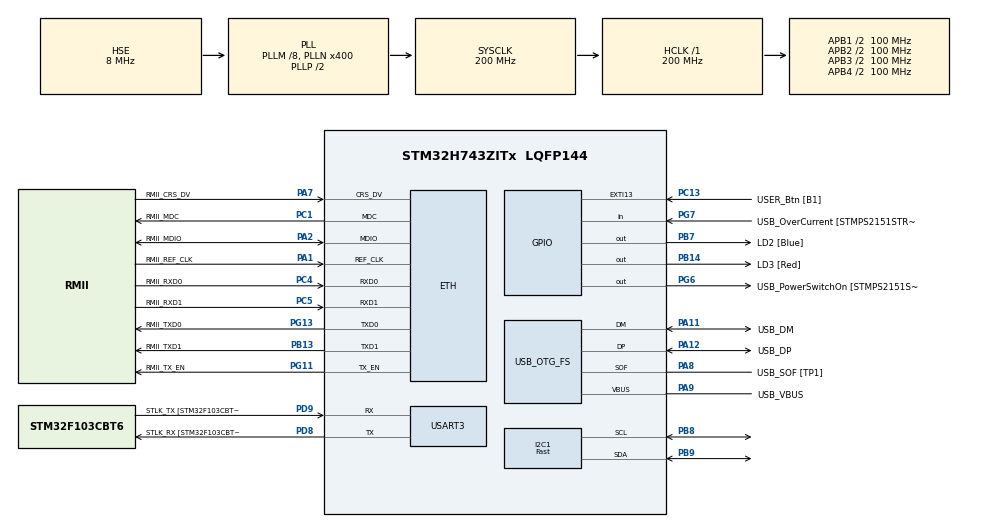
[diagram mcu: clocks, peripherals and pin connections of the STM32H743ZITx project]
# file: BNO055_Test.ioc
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I2C1.I2C_Speed_Mode=I2C_Fast
PB14.GPIO_Label=LD3 [Red]
PG6.GPIO_Label=USB_PowerSwitchOn [STMPS2151STR_EN]
PC5.Mode=RMII
PB13.Signal=ETH_TXD1
PG13.Signal=ETH_TXD0
RCC.SYSCLKSource=RCC_SYSCLKSOURCE_PLLCLK
LWIP.NETMASK_ADDRESS=255.255.255.000
USART3.VirtualMode-Asynchronous=VM_ASYNC
PA14\ (JTCK/SWCLK).Signal=DEBUG_JTCK-SWCLK
RCC.APB2TimFreq_Value=216000000
PD8.Signal=USART3_TX
RCC.DIVM3=8
RCC.DIVM1=8
PC4.GPIO_Label=RMII_RXD0
PA8.Signal=USB_OTG_FS_SOF
PA14\ (JTCK/SWCLK).Mode=Trace_Asynchronous_SW
PB9.Signal=I2C1_SDA
Mcu.Package=LQFP144
NVIC.TimeBase=TIM8_UP_TIM13_IRQn
NVIC.TimeBaseIP=TIM8
PA10.Signal=USB_OTG_FS_ID
PC14-OSC32_IN\ (OSC32_IN).Mode=LSE-External-Oscillator
RCC.APB2CLKDivider=RCC_HCLK_DIV2
RCC.APB4Freq_Value=100000000
RCC.APB1TimFreq_Value=108000000
PB13.Mode=RMII
PH0-OSC_IN\ (PH0).Mode=HSE-External-Clock-Source
PC4.Mode=RMII
LWIP.IP_ADDRESS=192.168.010.010
RCC.DIVQ3=4
RCC.DIVQ1=4
FREERTOS.Tasks01=defaultTask,24,256,StartDefaultTask,Default,NULL,Dynamic,NULL,NULL;myTask02,24,512,BNO055_Task,As weak,NULL,Dynamic,NULL,NULL
LWIP0.BSP.i2caddr=0
PD9.GPIO_Label=STLK_TX [STM32F103CBT6_PA2]
PA9.GPIO_Label=USB_VBUS
PC13.Signal=GPXTI13
PA11.GPIO_Label=USB_DM
LWIP.LWIP_DHCP=0
RCC.APB1CLKDivider=RCC_HCLK_DIV4
PG13.GPIO_Label=RMII_TXD0
RCC.PWR_Regulator_Voltage_Scale=PWR_REGULATOR_VOLTAGE_SCALE1
PA8.GPIO_Label=USB_SOF [TP1]
PA9.Signal=USB_OTG_FS_VBUS
RCC.DIVN3=192
I2C1.Timing=0x009034B6
RCC.DIVN1=400
PD8.Mode=Asynchronous
PB14.Signal=GPIO_Output
RCC.USBCLockSelection=RCC_USBCLKSOURCE_PLL3
PA1.Mode=RMII
RCC.PRESCALERUSB=RCC_USBCLKSOURCE_PLL_DIV1_5
PG7.GPIO_Label=USB_OverCurrent [STMPS2151STR_FAULT]
PA1.GPIO_Label=RMII_REF_CLK
ETH.MediaInterface=HAL_ETH_RMII_MODE
PG11.Mode=RMII
PA11.Signal=USB_OTG_FS_DM
ProjectManager.HeapSize=0x400
LWIP.Version=v2.1.2_Cube
NVIC.TIM8_UP_TIM13_IRQn=true\:0\:0\:false\:false\:true\:false\:false\:true
NVIC.PriorityGroup=NVIC_PRIORITYGROUP_4
PB8.Mode=I2C
PB3\ (JTDO/TRACESWO).Mode=Trace_Asynchronous_SW
PA8.Mode=Activate_SOF_FS
PC1.Signal=ETH_MDC
PA13\ (JTMS/SWDIO).Signal=DEBUG_JTMS-SWDIO
PC1.Mode=RMII
Mcu.Family=STM32H7
LWIP0.BSP.STBoard=false
RCC.CortexFreq_Value=200000000
PG6.Signal=GPIO_Output
PH0-OSC_IN\ (PH0).Signal=RCC_OSC_IN
PC15-OSC32_OUT\ (OSC32_OUT).Mode=LSE-External-Oscillator
RCC.SYSCLKSourceVirtual=RCC_SYSCLKSOURCE_PLLCLK
PA11.Mode=Device_Only
VP_SYS_VS_tim8.Mode=TIM8
PC13.GPIO_Label=USER_Btn [B1]
PB13.GPIO_Label=RMII_TXD1
PD9.Mode=Asynchronous
PG11.Signal=ETH_TX_EN
ProjectManager.StackSize=0x1000
VP_FREERTOS_VS_CMSIS_V2.Mode=CMSIS_V2
PA12.Signal=USB_OTG_FS_DP
RCC.HCLKFreq_Value=200000000
RCC.AHBFreq_Value=216000000
RCC.HSE_VALUE=8000000
RCC.PLLMUL=RCC_PLL_MUL9
PA10.GPIO_Label=USB_ID
PB7.Signal=GPIO_Output
PG13.Mode=RMII
LWIP0.BSP.solution=LAN8742
RCC.APB3Freq_Value=100000000
LWIP0.BSP.component=LAN8742
PB7.GPIO_Label=LD2 [Blue]
RCC.D1PPRE=RCC_APB3_DIV2
PA2.GPIO_Label=RMII_MDIO
USB_OTG_FS.VirtualMode=Device_Only
PG11.GPIO_Label=RMII_TX_EN
PC5.Signal=ETH_RXD1
PG7.Signal=GPIO_Input
PA7.Mode=RMII
PA13\ (JTMS/SWDIO).Mode=Trace_Asynchronous_SW
PC4.Signal=ETH_RXD0
RCC.D2PPRE2=RCC_APB2_DIV2
RCC.D2PPRE1=RCC_APB1_DIV2
PD9.Signal=USART3_RX
PA12.GPIO_Label=USB_DP
PH1-OSC_OUT\ (PH1).Signal=RCC_OSC_OUT
VP_LWIP_VS_Enabled.Mode=Enabled
LWIP.GATEWAY_ADDRESS=192.168.010.001
PD8.GPIO_Label=STLK_RX [STM32F103CBT6_PA3]
PA9.Mode=Activate_VBUS
PB3\ (JTDO/TRACESWO).Signal=DEBUG_JTDO-SWO
ProjectManager.TargetToolchain=STM32CubeIDE
PC15-OSC32_OUT\ (OSC32_OUT).Signal=RCC_OSC32_OUT
PB9.Mode=I2C
LWIP0.BSP.instance=LAN8742
RCC.USBFreq_Value=48000000
LWIP0.BSP.api=BSP_COMPONENT_DRIVER
PA1.Signal=ETH_REF_CLK
board=NUCLEO-H743ZI
RCC.VCOOutputFreq_Value=432000000
RCC.APB2Freq_Value=100000000
RCC.ADCFreq_Value=16125000
PC1.GPIO_Label=RMII_MDC
Mcu.Name=STM32H743ZITx
PA2.Signal=ETH_MDIO
RCC.48MHZClocksFreq_Value=24000000
RCC.SYSCLKFreq_VALUE=200000000
PA7.GPIO_Label=RMII_CRS_DV
PA12.Mode=Device_Only
LWIP.BSP.number=1
PC14-OSC32_IN\ (OSC32_IN).Signal=RCC_OSC32_IN
PC5.GPIO_Label=RMII_RXD1
RCC.HSI_VALUE=64000000
RCC.PLLQ=9
PH0-OSC_IN\ (PH0).GPIO_Label=MCO
RCC.PLLM=25
RCC.PLLN=432
PA2.Mode=RMII
PB8.Signal=I2C1_SCL
RCC.D3PPRE=RCC_APB4_DIV2
CORTEX_M7.CPU_DCache=Enabled
LWIP0.BSP.name=Driver_PHY
RCC.APB1Freq_Value=100000000
PA7.Signal=ETH_CRS_DV

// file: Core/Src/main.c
/* USER CODE BEGIN Header */
/**
  ******************************************************************************
  * @file           : main.c
  * @brief          : Main program body
  ******************************************************************************
  * @attention
  *
  * <h2><center>&copy; Copyright (c) 2021 STMicroelectronics.
  * All rights reserved.</center></h2>
  *
  * This software component is licensed by ST under BSD 3-Clause license,
  * the "License"; You may not use this file except in compliance with the
  * License. You may obtain a copy of the License at:
  *                        opensource.org/licenses/BSD-3-Clause
  *
  ******************************************************************************
  */
/* USER CODE END Header */
#include "main.h"
#include "cmsis_os.h"
#include "lwip.h"

I2C_HandleTypeDef hi2c1;

UART_HandleTypeDef huart3;

PCD_HandleTypeDef hpcd_USB_OTG_FS;

/* Definitions for defaultTask */
osThreadId_t defaultTaskHandle;
const osThreadAttr_t defaultTask_attributes = {
  .name = "defaultTask",
  .stack_size = 256 * 4,
  .priority = (osPriority_t) osPriorityNormal,
};
/* Definitions for myTask02 */
osThreadId_t myTask02Handle;
const osThreadAttr_t myTask02_attributes = {
  .name = "myTask02",
  .stack_size = 512 * 4,
  .priority = (osPriority_t) osPriorityNormal,
};
/* USER CODE BEGIN PV */

#ifdef __GNUC__
/* With GCC/RAISONANCE, small msg_info (option LD Linker->Libraries->Small msg_info
   set to 'Yes') calls __io_putchar() */
#define PUTCHAR_PROTOTYPE int __io_putchar(int ch)
#define GETCHAR_PROTOTYPE int __io_getchar(void)
#else
#define PUTCHAR_PROTOTYPE int fputc(int ch, FILE *f)
#define GETCHAR_PROTOTYPE int fgetc(FILE *f)
#endif /* __GNUC__ */

/* USER CODE END PV */

void SystemClock_Config(void);
static void MX_GPIO_Init(void);
static void MX_USART3_UART_Init(void);
static void MX_USB_OTG_FS_PCD_Init(void);
static void MX_I2C1_Init(void);
void StartDefaultTask(void *argument);
void BNO055_Task(void *argument);

/* USER CODE BEGIN 0 */

/**
  * @brief Retargets the C library msg_info function to the USART.
  * @param None
  * @retval None
  */
PUTCHAR_PROTOTYPE
{
  /* Place your implementation of fputc here */
  /* e.g. write a character to the serial port and Loop until the end of transmission */
  while (HAL_OK != HAL_UART_Transmit(&huart3, (uint8_t *) &ch, 1, 1000))
  {
    ;
  }
  return ch;
}

/**
  * @brief Retargets the C library scanf function to the USART.
  * @param None
  * @retval None
  */
GETCHAR_PROTOTYPE
{
  /* Place your implementation of fgetc here */
  /* e.g. readwrite a character to the USART3 and Loop until the end of transmission */
  uint8_t ch = 0;
  while (HAL_OK != HAL_UART_Receive(&huart3, (uint8_t *)&ch, 1, 1000))
  {
    ;
  }
  return ch;
}

/* USER CODE END 0 */

int main(void)
{

  /* Enable D-Cache---------------------------------------------------------*/
  SCB_EnableDCache();

  /* MCU Configuration--------------------------------------------------------*/

  /* Reset of all peripherals, Initializes the Flash interface and the Systick. */
  HAL_Init();

  /* Configure the system clock */
  SystemClock_Config();

  /* Initialize all configured peripherals */
  MX_GPIO_Init();
  MX_USART3_UART_Init();
  MX_USB_OTG_FS_PCD_Init();
  MX_I2C1_Init();

  /* Init scheduler */
  osKernelInitialize();

  /* Create the thread(s) */
  /* creation of defaultTask */
  defaultTaskHandle = osThreadNew(StartDefaultTask, NULL, &defaultTask_attributes);

  /* creation of myTask02 */
  myTask02Handle = osThreadNew(BNO055_Task, NULL, &myTask02_attributes);

  /* Start scheduler */
  osKernelStart();

  /* We should never get here as control is now taken by the scheduler */
  /* Infinite loop */
  while (1)
  {

    /* USER CODE BEGIN 3 */
  	osDelay(1000);
  }
  /* USER CODE END 3 */
}

void SystemClock_Config(void)
{
  RCC_OscInitTypeDef RCC_OscInitStruct = {0};
  RCC_ClkInitTypeDef RCC_ClkInitStruct = {0};

  /** Supply configuration update enable
  */
  HAL_PWREx_ConfigSupply(PWR_LDO_SUPPLY);
  /** Configure the main internal regulator output voltage
  */
  __HAL_PWR_VOLTAGESCALING_CONFIG(PWR_REGULATOR_VOLTAGE_SCALE1);

  while(!__HAL_PWR_GET_FLAG(PWR_FLAG_VOSRDY)) {}
  /** Macro to configure the PLL clock source
  */
  __HAL_RCC_PLL_PLLSOURCE_CONFIG(RCC_PLLSOURCE_HSE);
  /** Initializes the RCC Oscillators according to the specified parameters
  * in the RCC_OscInitTypeDef structure.
  */
  RCC_OscInitStruct.OscillatorType = RCC_OSCILLATORTYPE_HSE;
  RCC_OscInitStruct.HSEState = RCC_HSE_BYPASS;
  RCC_OscInitStruct.PLL.PLLState = RCC_PLL_ON;
  RCC_OscInitStruct.PLL.PLLSource = RCC_PLLSOURCE_HSE;
  RCC_OscInitStruct.PLL.PLLM = 8;
  RCC_OscInitStruct.PLL.PLLN = 400;
  RCC_OscInitStruct.PLL.PLLP = 2;
  RCC_OscInitStruct.PLL.PLLQ = 4;
  RCC_OscInitStruct.PLL.PLLR = 2;
  RCC_OscInitStruct.PLL.PLLRGE = RCC_PLL1VCIRANGE_0;
  RCC_OscInitStruct.PLL.PLLVCOSEL = RCC_PLL1VCOWIDE;
  RCC_OscInitStruct.PLL.PLLFRACN = 0;
  if (HAL_RCC_OscConfig(&RCC_OscInitStruct) != HAL_OK)
  {
    Error_Handler();
  }
  /** Initializes the CPU, AHB and APB buses clocks
  */
  RCC_ClkInitStruct.ClockType = RCC_CLOCKTYPE_HCLK|RCC_CLOCKTYPE_SYSCLK
                              |RCC_CLOCKTYPE_PCLK1|RCC_CLOCKTYPE_PCLK2
                              |RCC_CLOCKTYPE_D3PCLK1|RCC_CLOCKTYPE_D1PCLK1;
  RCC_ClkInitStruct.SYSCLKSource = RCC_SYSCLKSOURCE_PLLCLK;
  RCC_ClkInitStruct.SYSCLKDivider = RCC_SYSCLK_DIV1;
  RCC_ClkInitStruct.AHBCLKDivider = RCC_HCLK_DIV1;
  RCC_ClkInitStruct.APB3CLKDivider = RCC_APB3_DIV2;
  RCC_ClkInitStruct.APB1CLKDivider = RCC_APB1_DIV2;
  RCC_ClkInitStruct.APB2CLKDivider = RCC_APB2_DIV2;
  RCC_ClkInitStruct.APB4CLKDivider = RCC_APB4_DIV2;

  if (HAL_RCC_ClockConfig(&RCC_ClkInitStruct, FLASH_LATENCY_2) != HAL_OK)
  {
    Error_Handler();
  }
}

static void MX_I2C1_Init(void)
{

  hi2c1.Instance = I2C1;
  hi2c1.Init.Timing = 0x009034B6;
  hi2c1.Init.OwnAddress1 = 0;
  hi2c1.Init.AddressingMode = I2C_ADDRESSINGMODE_7BIT;
  hi2c1.Init.DualAddressMode = I2C_DUALADDRESS_DISABLE;
  hi2c1.Init.OwnAddress2 = 0;
  hi2c1.Init.OwnAddress2Masks = I2C_OA2_NOMASK;
  hi2c1.Init.GeneralCallMode = I2C_GENERALCALL_DISABLE;
  hi2c1.Init.NoStretchMode = I2C_NOSTRETCH_DISABLE;
  if (HAL_I2C_Init(&hi2c1) != HAL_OK)
  {
    Error_Handler();
  }
  /** Configure Analogue filter
  */
  if (HAL_I2CEx_ConfigAnalogFilter(&hi2c1, I2C_ANALOGFILTER_ENABLE) != HAL_OK)
  {
    Error_Handler();
  }
  /** Configure Digital filter
  */
  if (HAL_I2CEx_ConfigDigitalFilter(&hi2c1, 0) != HAL_OK)
  {
    Error_Handler();
  }

}

static void MX_USART3_UART_Init(void)
{

  huart3.Instance = USART3;
  huart3.Init.BaudRate = 115200;
  huart3.Init.WordLength = UART_WORDLENGTH_8B;
  huart3.Init.StopBits = UART_STOPBITS_1;
  huart3.Init.Parity = UART_PARITY_NONE;
  huart3.Init.Mode = UART_MODE_TX_RX;
  huart3.Init.HwFlowCtl = UART_HWCONTROL_NONE;
  huart3.Init.OverSampling = UART_OVERSAMPLING_16;
  huart3.Init.OneBitSampling = UART_ONE_BIT_SAMPLE_DISABLE;
  huart3.Init.ClockPrescaler = UART_PRESCALER_DIV1;
  huart3.AdvancedInit.AdvFeatureInit = UART_ADVFEATURE_NO_INIT;
  if (HAL_UART_Init(&huart3) != HAL_OK)
  {
    Error_Handler();
  }
  if (HAL_UARTEx_SetTxFifoThreshold(&huart3, UART_TXFIFO_THRESHOLD_1_8) != HAL_OK)
  {
    Error_Handler();
  }
  if (HAL_UARTEx_SetRxFifoThreshold(&huart3, UART_RXFIFO_THRESHOLD_1_8) != HAL_OK)
  {
    Error_Handler();
  }
  if (HAL_UARTEx_DisableFifoMode(&huart3) != HAL_OK)
  {
    Error_Handler();
  }

}

static void MX_USB_OTG_FS_PCD_Init(void)
{

  hpcd_USB_OTG_FS.Instance = USB_OTG_FS;
  hpcd_USB_OTG_FS.Init.dev_endpoints = 9;
  hpcd_USB_OTG_FS.Init.speed = PCD_SPEED_FULL;
  hpcd_USB_OTG_FS.Init.dma_enable = DISABLE;
  hpcd_USB_OTG_FS.Init.phy_itface = PCD_PHY_EMBEDDED;
  hpcd_USB_OTG_FS.Init.Sof_enable = ENABLE;
  hpcd_USB_OTG_FS.Init.low_power_enable = DISABLE;
  hpcd_USB_OTG_FS.Init.lpm_enable = DISABLE;
  hpcd_USB_OTG_FS.Init.battery_charging_enable = ENABLE;
  hpcd_USB_OTG_FS.Init.vbus_sensing_enable = ENABLE;
  hpcd_USB_OTG_FS.Init.use_dedicated_ep1 = DISABLE;
  if (HAL_PCD_Init(&hpcd_USB_OTG_FS) != HAL_OK)
  {
    Error_Handler();
  }

}

static void MX_GPIO_Init(void)
{
  GPIO_InitTypeDef GPIO_InitStruct = {0};

  /* GPIO Ports Clock Enable */
  __HAL_RCC_GPIOC_CLK_ENABLE();
  __HAL_RCC_GPIOH_CLK_ENABLE();
  __HAL_RCC_GPIOA_CLK_ENABLE();
  __HAL_RCC_GPIOB_CLK_ENABLE();
  __HAL_RCC_GPIOD_CLK_ENABLE();
  __HAL_RCC_GPIOG_CLK_ENABLE();

  /*Configure GPIO pin Output Level */
  HAL_GPIO_WritePin(GPIOB, LD3_Pin|LD2_Pin, GPIO_PIN_RESET);

  /*Configure GPIO pin Output Level */
  HAL_GPIO_WritePin(USB_PowerSwitchOn_GPIO_Port, USB_PowerSwitchOn_Pin, GPIO_PIN_RESET);

  /*Configure GPIO pin : USER_Btn_Pin */
  GPIO_InitStruct.Pin = USER_Btn_Pin;
  GPIO_InitStruct.Mode = GPIO_MODE_IT_RISING;
  GPIO_InitStruct.Pull = GPIO_NOPULL;
  HAL_GPIO_Init(USER_Btn_GPIO_Port, &GPIO_InitStruct);

  /*Configure GPIO pins : LD3_Pin LD2_Pin */
  GPIO_InitStruct.Pin = LD3_Pin|LD2_Pin;
  GPIO_InitStruct.Mode = GPIO_MODE_OUTPUT_PP;
  GPIO_InitStruct.Pull = GPIO_NOPULL;
  GPIO_InitStruct.Speed = GPIO_SPEED_FREQ_LOW;
  HAL_GPIO_Init(GPIOB, &GPIO_InitStruct);

  /*Configure GPIO pin : USB_PowerSwitchOn_Pin */
  GPIO_InitStruct.Pin = USB_PowerSwitchOn_Pin;
  GPIO_InitStruct.Mode = GPIO_MODE_OUTPUT_PP;
  GPIO_InitStruct.Pull = GPIO_NOPULL;
  GPIO_InitStruct.Speed = GPIO_SPEED_FREQ_LOW;
  HAL_GPIO_Init(USB_PowerSwitchOn_GPIO_Port, &GPIO_InitStruct);

  /*Configure GPIO pin : USB_OverCurrent_Pin */
  GPIO_InitStruct.Pin = USB_OverCurrent_Pin;
  GPIO_InitStruct.Mode = GPIO_MODE_INPUT;
  GPIO_InitStruct.Pull = GPIO_NOPULL;
  HAL_GPIO_Init(USB_OverCurrent_GPIO_Port, &GPIO_InitStruct);

}

void StartDefaultTask(void *argument)
{
  /* init code for LWIP */
  MX_LWIP_Init();
  /* USER CODE BEGIN 5 */
  /* Infinite loop */
  for(;;)
  {
  	HAL_GPIO_TogglePin(LD2_GPIO_Port, LD2_Pin);

    osDelay(100);
  }
  /* USER CODE END 5 */
}

__weak void BNO055_Task(void *argument)
{
  for(;;)
  {
    osDelay(1);
  }
}

 /**
  * @brief  Period elapsed callback in non blocking mode
  * @note   This function is called  when TIM8 interrupt took place, inside
  * HAL_TIM_IRQHandler(). It makes a direct call to HAL_IncTick() to increment
  * a global variable "uwTick" used as application time base.
  * @param  htim : TIM handle
  * @retval None
  */
void HAL_TIM_PeriodElapsedCallback(TIM_HandleTypeDef *htim)
{
  if (htim->Instance == TIM8) {
    HAL_IncTick();
  }
}

void Error_Handler(void)
{
  __disable_irq();
  while (1)
  {
  }
}

/************************ (C) COPYRIGHT STMicroelectronics *****END OF FILE****/
